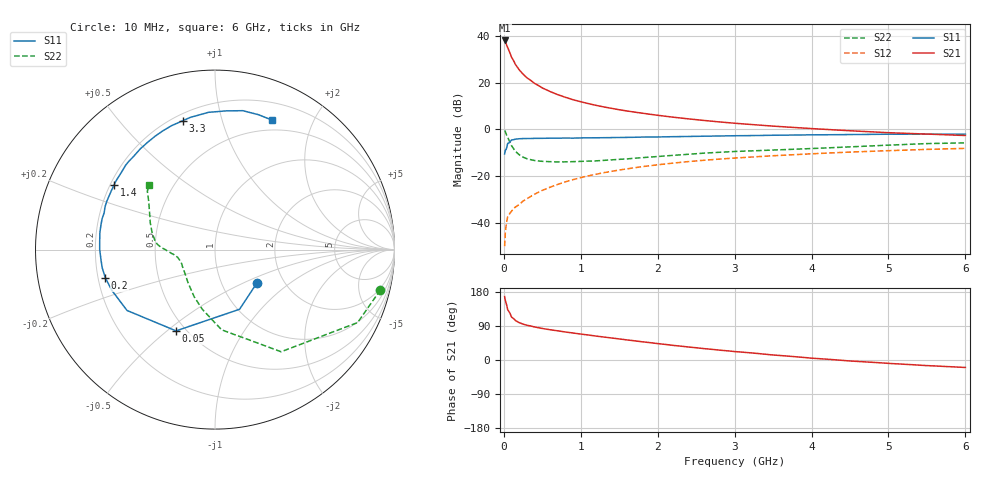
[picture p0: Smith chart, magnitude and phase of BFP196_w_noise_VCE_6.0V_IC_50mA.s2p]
! Infineon Technologies  Discrete & RF Semiconductors
! BFP196
! VCE =  6.0 V,  IC =  50 mA
! Common Emitter S-Parameters:  Jan 2017
# GHz  S  MA  R  50
!  f  S11  S21  S12  S22
! GHz  MAG  ANG  MAG  ANG  MAG  ANG  MAG  ANG
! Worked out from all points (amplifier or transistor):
!   77 points, 10 MHz to 6 GHz, reference 50 ohm
!   highest |S21| = 38.0 dB at 10 MHz (marker M1)
!   |S21| within 3 dB of that: start of sweep to 49.27 MHz
!   unconditionally stable (mu >= 1): 550.6 MHz to 2.427 GHz
!   at 130 MHz: K = 0.61, MSG = 31.5 dB, |S12| = -33.9 dB
!   at 2.2 GHz: K = 1.01, MAG = 9.2 dB, |S12| = -14.4 dB
!   at 6 GHz: K = 0.95, MSG = 2.7 dB, |S12| = -8.1 dB
!   lowest NFmin = 1.45 dB at 450 MHz
!   S11 on the Smith chart (normalised r, x): 10 MHz: 1.47, -0.59; 50 MHz: 0.44, -0.54; 200 MHz: 0.23, -0.12; 1.4 GHz: 0.22, +0.28; 3.3 GHz: 0.24, +0.75; 6 GHz: 0.38, +1.46
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0.01  0.2982 -38.1  79.36 167.6  0.0032 79.3  0.9485 -13.7
0.02  0.3595 -67.6  75.36 156.7  0.0065 72.2  0.8925 -27.1
0.05  0.5022 -115.6  55.82 132.4  0.0136 58.7  0.6778 -57.1
0.1  0.596 -145.3  34.89 113.2  0.0179 54.3  0.4483 -85.3
0.15  0.618 -158.4  24.48 104.2  0.0219 53.8  0.3404 -101.9
0.2  0.6309 -165.6  18.74 98.6  0.0248 57.3  0.2873 -113.8
0.25  0.6365 -170.8  15.12 94.6  0.0295 59.4  0.2553 -122.4
0.3  0.6376 -174.6  12.66 91.7  0.033 61.1  0.2362 -129.8
0.4  0.6426 179.8  9.597 87.0  0.0413 64.2  0.2161 -139.9
0.5  0.6444 175.4  7.692 83.2  0.0497 65.4  0.2076 -147.1
0.6  0.6485 171.4  6.444 79.9  0.0581 66.0  0.2044 -152.7
0.7  0.6496 168.3  5.524 77.0  0.0667 66.6  0.2014 -156.8
0.9  0.6506 161.7  4.305 71.2  0.0844 65.3  0.2046 -162.3
1.1  0.6604 155.9  3.55 65.9  0.1019 63.9  0.2099 -166.5
1.4  0.6676 147.5  2.816 58.1  0.127 61.0  0.2233 -171.4
1.7  0.6784 139.3  2.337 50.6  0.1519 57.1  0.2421 -174.8
2.1  0.6932 129.0  1.909 41.1  0.1827 51.8  0.271 -179.2
3.1  0.7336 107.7  1.315 20.7  0.2498 38.4  0.3417 170.4
3.3  0.7401 104.0  1.242 17.2  0.2614 36.0  0.3515 167.7
4.1  0.7666 91.2  1.018 3.5  0.306 26.3  0.3959 155.9
5.1  0.7886 77.4  0.838 -10.0  0.3554 14.7  0.4675 142.6
6  0.7883 66.4  0.74 -19.7  0.3933 4.7  0.5147 135.7
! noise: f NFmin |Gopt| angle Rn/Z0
0.45  1.45  0.4  -176  0.06
0.9  1.6  0.47  -164  0.08
1.9  2.42  0.68  -132  0.32
2.4  2.82  0.7  -119  0.66
